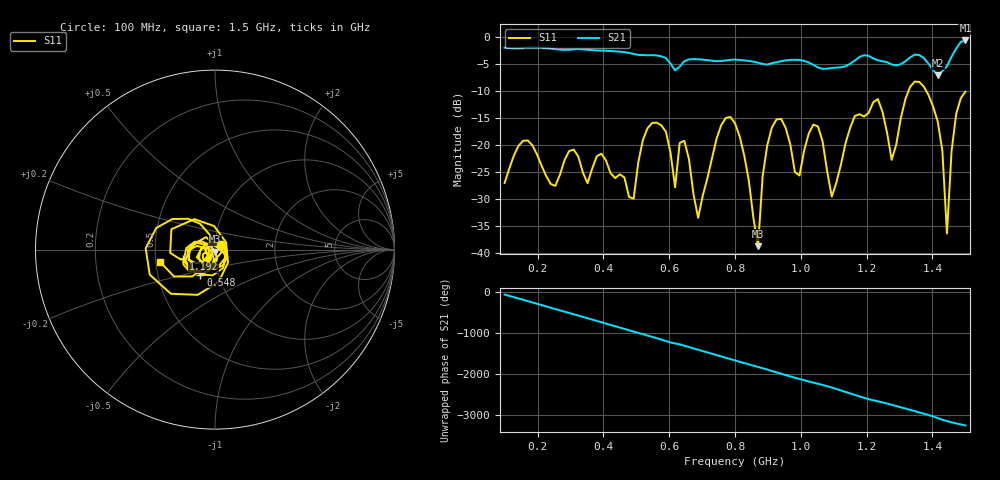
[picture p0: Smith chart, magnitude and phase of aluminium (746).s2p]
! NanoVNA-App
! Date: 2025-09-25 15:01:05
! Start: 100MHz Stop: 1,5GHz Points: 101
! S-Parameter data: F S11 S21 S12 S22
# Hz S RI R 50
!  Frequency  S11_Real  S11_Imag  S21_Real  S21_Imag  S12_Real  S12_Imag  S22_Real  S22_Imag
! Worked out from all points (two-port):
!   101 points, 100 MHz to 1.5 GHz, reference 50 ohm
!   highest |S21| = -0.58 dB at 1.5 GHz (marker M1); lowest = -7.0 dB at 1.416 GHz (marker M2)
!   |S21| within 3 dB of the highest: start of sweep to 578.7 MHz; 1.458 GHz to end of sweep (the widest 2 of 4)
!   lowest |S11| = -38.7 dB at 870 MHz (marker M3), VSWR 1.02, Z = 50 - j1.17 ohm
!   |S11| at or under -10 dB: start of sweep to 1.327 GHz; 1.382 GHz to end of sweep
!   S12 and S22 are empty: the file has one direction only
!   S11 on the Smith chart (normalised r, x): 100 MHz: 1.07, +0.06; 548 MHz: 0.82, -0.23; 1.192 GHz: 0.70, -0.08; 1.5 GHz: 0.53, -0.08
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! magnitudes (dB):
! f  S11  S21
! 100 MHz  -27.0  -1.9
! 156 MHz  -19.2  -2.0
! 338 MHz  -25.1  -2.2
! 492 MHz  -29.9  -3.1
! 548 MHz  -15.9  -3.3
! 576 MHz  -16.3  -3.5
! 618 MHz  -27.8  -6.1
! 646 MHz  -19.2  -4.4
! 688 MHz  -33.4  -4.1
! 800 MHz  -15.9  -4.1
! 870 MHz  -38.7  -4.7
! 912 MHz  -16.7  -4.8
! 996 MHz  -25.6  -4.2
! 1.038 GHz  -16.1  -5.1
! 1.094 GHz  -29.5  -5.7
! 1.192 GHz  -14.7  -3.3
! 1.276 GHz  -22.7  -5.0
! 1.346 GHz  -8.2  -3.2
! 1.416 GHz  -15.6  -7.0
! 1.444 GHz  -36.3  -5.3
! 1.472 GHz  -14.2  -2.1
! 1.5 GHz  -10.1  -0.6
